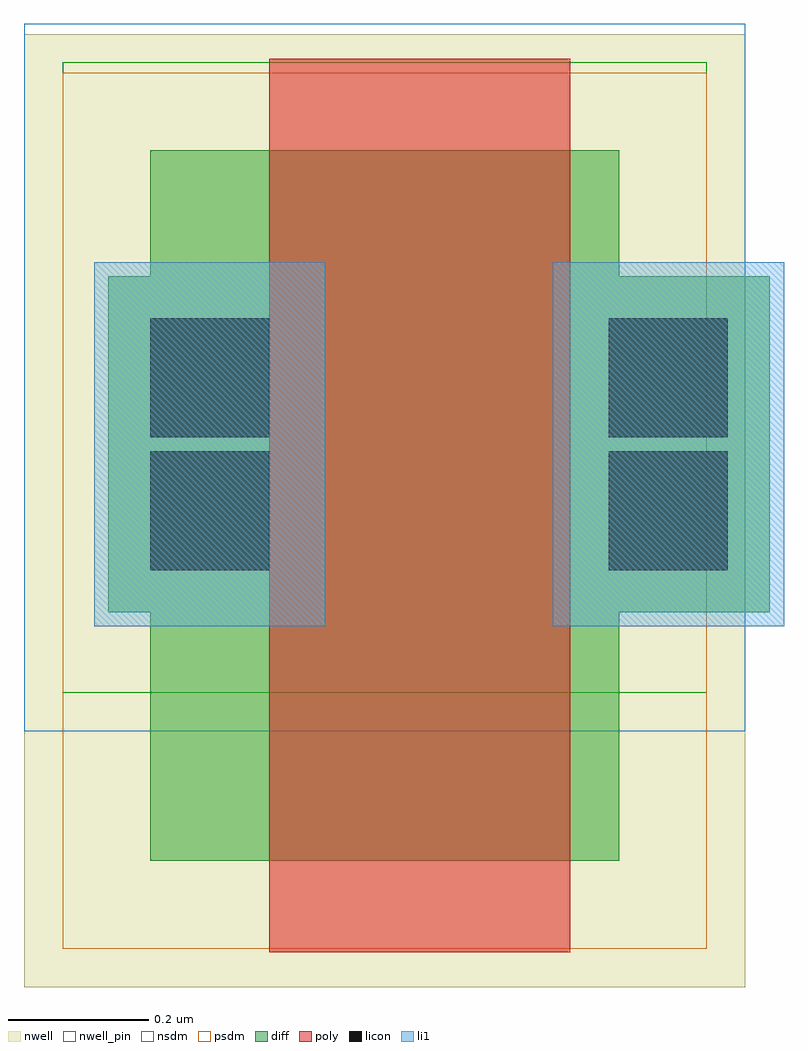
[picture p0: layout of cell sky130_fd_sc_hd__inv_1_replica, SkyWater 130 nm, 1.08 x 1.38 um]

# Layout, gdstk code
import gdstk
lib = gdstk.Library(unit=1e-6, precision=1e-09)
def R(c, l, rs):  # rectangles x0, y0, x1, y1
    for r in rs: c.add(gdstk.rectangle(r[:2], r[2:], *l))
nwell_pin = (64, 16)
nwell = (64, 20)
diff = (65, 20)
poly = (66, 20)
licon = (66, 44)
li1 = (67, 20)
nsdm = (93, 44)
psdm = (94, 20)

nmos = lib.new_cell('NMOS')
R(nmos, nwell_pin, [(-0.18,-0.05,0.85,0.96)])
R(nmos, diff, [(0,0.13,0.67,0.78), (-0.06,0.31,0.23,0.6), (0.595,0.31,0.885,0.6)])
R(nmos, poly, [(0.17,0,0.6,0.91)])
R(nmos, licon, [(0,0.37,0.17,0.54), (0.655,0.37,0.825,0.54)])
R(nmos, li1, [(-0.08,0.29,0.25,0.62), (0.575,0.29,0.905,0.62)])
R(nmos, nsdm, [(-0.125,0.005,0.795,0.905)])

pmos = lib.new_cell('PMOS')
R(pmos, nwell, [(-0.18,-0.05,0.85,1.31)])
R(pmos, diff, [(0,0.13,0.67,1.13), (-0.06,0.485,0.23,0.775), (0.595,0.485,0.885,0.775)])
R(pmos, poly, [(0.17,0,0.6,1.26)])
R(pmos, licon, [(0,0.545,0.17,0.715), (0.655,0.545,0.825,0.715)])
R(pmos, li1, [(-0.08,0.465,0.25,0.795), (0.575,0.465,0.905,0.795)])
R(pmos, psdm, [(-0.125,0.005,0.795,1.255)])

sky130_fd_sc_hd__inv_1_r = lib.new_cell('sky130_fd_sc_hd__inv_1_replica')
sky130_fd_sc_hd__inv_1_r.add(gdstk.Reference(nmos, (0.2,0.4)))
sky130_fd_sc_hd__inv_1_r.add(gdstk.Reference(pmos, (0.2,0.035)))

lib.write_gds('sky130_fd_sc_hd__inv_1_replica.gds')
